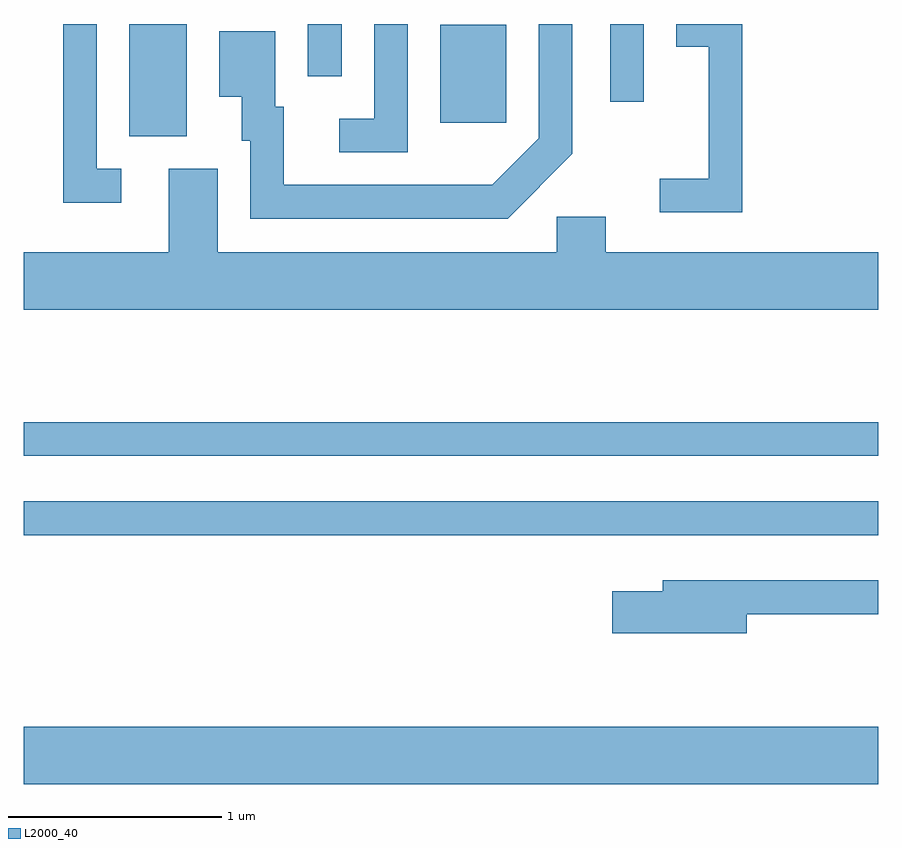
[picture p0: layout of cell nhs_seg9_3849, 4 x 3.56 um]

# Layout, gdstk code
import gdstk
lib = gdstk.Library(unit=1e-6, precision=1e-09)
def R(c, l, rs):  # rectangles x0, y0, x1, y1
    for r in rs: c.add(gdstk.rectangle(r[:2], r[2:], *l))
def P(c, l, *ps):  # polygons
    for p in ps: c.add(gdstk.Polygon(p, *l))
L2000_40 = (2000, 40)

nhs_seg9_3849 = lib.new_cell('nhs_seg9_3849')
R(nhs_seg9_3849, L2000_40, [(297.611,2042.876,301.611,2043.144), (297.611,2044.041,301.611,2044.199), (297.611,2044.411,301.611,2044.569), (298.106,2045.906,298.374,2046.432), (299.561,2045.971,299.869,2046.429), (300.356,2046.068,300.514,2046.432), (298.941,2046.188,299.099,2046.432)])
P(nhs_seg9_3849, L2000_40, [(300.179,2045.824),(300.179,2046.432),(300.021,2046.432),(300.021,2045.897),(299.804,2045.679),(298.829,2045.679),(298.829,2046.044),(298.789,2046.044),(298.789,2046.399),(298.526,2046.399),(298.526,2046.091),(298.631,2046.091),(298.631,2045.886),(298.671,2045.886),(298.671,2045.521),(299.877,2045.521)],
  [(299.409,2046.432),(299.251,2046.432),(299.251,2045.989),(299.088,2045.989),(299.088,2045.831),(299.409,2045.831)],
  [(298.068,2045.754),(297.954,2045.754),(297.954,2046.432),(297.796,2046.432),(297.796,2045.596),(298.068,2045.596)],
  [(300.974,2046.432),(300.666,2046.432),(300.666,2046.326),(300.816,2046.326),(300.816,2045.709),(300.588,2045.709),(300.588,2045.551),(300.974,2045.551)],
  [(301.611,2045.364),(300.334,2045.364),(300.334,2045.529),(300.106,2045.529),(300.106,2045.364),(298.519,2045.364),(298.519,2045.754),(298.291,2045.754),(298.291,2045.364),(297.611,2045.364),(297.611,2045.096),(301.611,2045.096)],
  [(300.994,2043.671),(301.611,2043.671),(301.611,2043.829),(300.601,2043.829),(300.601,2043.779),(300.366,2043.779),(300.366,2043.581),(300.994,2043.581)])

lib.write_gds('nhs_seg9_3849.gds')
